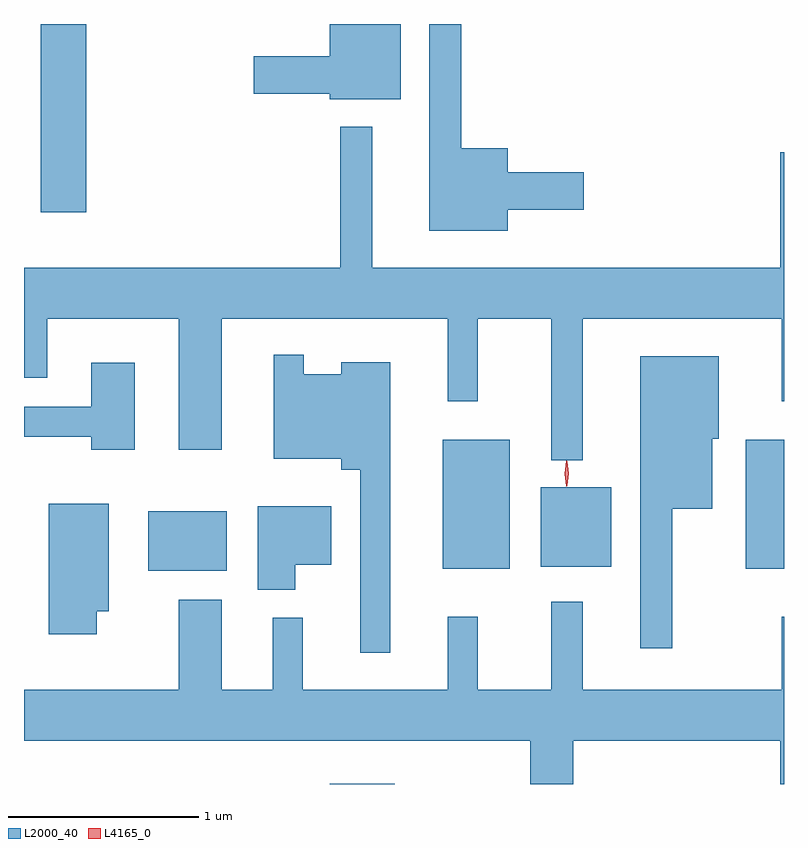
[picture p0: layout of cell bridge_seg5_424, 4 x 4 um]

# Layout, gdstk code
import gdstk
lib = gdstk.Library(unit=1e-6, precision=1e-09)
def R(c, l, rs):  # rectangles x0, y0, x1, y1
    for r in rs: c.add(gdstk.rectangle(r[:2], r[2:], *l))
def P(c, l, *ps):  # polygons
    for p in ps: c.add(gdstk.Polygon(p, *l))
L2000_40 = (2000, 40)
L4165_0 = (4165, 0)

bridge_seg5_424 = lib.new_cell('bridge_seg5_424')
R(bridge_seg5_424, L2000_40, [(312.606,1498.748,312.949,1498.749), (311.651,1499.871,312.064,1500.184), (313.201,1499.881,313.554,1500.559), (314.796,1499.881,314.997,1500.559), (313.716,1499.891,314.089,1500.309), (311.086,1501.756,311.324,1502.748)])
P(bridge_seg5_424, L2000_40, [(313.544,1501.771),(313.944,1501.771),(313.944,1501.969),(313.544,1501.969),(313.544,1502.094),(313.299,1502.094),(313.299,1502.748),(313.131,1502.748),(313.131,1501.661),(313.544,1501.661)],
  [(312.979,1502.748),(312.606,1502.748),(312.606,1502.579),(312.206,1502.579),(312.206,1502.381),(312.606,1502.381),(312.606,1502.351),(312.979,1502.351)],
  [(313.939,1501.196),(314.986,1501.196),(314.986,1500.763),(314.997,1500.763),(314.997,1502.074),(314.976,1502.074),(314.976,1501.464),(312.829,1501.464),(312.829,1502.208),(312.661,1502.208),(312.661,1501.464),(310.997,1501.464),(310.997,1500.886),(311.119,1500.886),(311.119,1501.196),(311.811,1501.196),(311.811,1500.506),(312.039,1500.506),(312.039,1501.196),(313.226,1501.196),(313.226,1500.763),(313.384,1500.763),(313.384,1501.196),(313.771,1501.196),(313.771,1500.453),(313.939,1500.453)],
  [(312.924,1500.969),(312.666,1500.969),(312.666,1500.904),(312.469,1500.904),(312.469,1501.008),(312.311,1501.008),(312.311,1500.461),(312.666,1500.461),(312.666,1500.401),(312.766,1500.401),(312.766,1499.438),(312.924,1499.438)],
  [(314.409,1500.196),(314.619,1500.196),(314.619,1500.566),(314.654,1500.566),(314.654,1500.999),(314.241,1500.999),(314.241,1499.463),(314.409,1499.463)],
  [(311.579,1500.964),(311.351,1500.964),(311.351,1500.734),(310.997,1500.734),(310.997,1500.576),(311.351,1500.576),(311.351,1500.506),(311.579,1500.506)],
  [(311.379,1499.656),(311.444,1499.656),(311.444,1500.224),(311.126,1500.224),(311.126,1499.536),(311.379,1499.536)],
  [(312.424,1499.901),(312.614,1499.901),(312.614,1500.209),(312.226,1500.209),(312.226,1499.771),(312.424,1499.771)],
  [(313.889,1498.976),(314.976,1498.976),(314.976,1498.748),(314.997,1498.748),(314.997,1499.628),(314.986,1499.628),(314.986,1499.244),(313.939,1499.244),(313.939,1499.708),(313.771,1499.708),(313.771,1499.244),(313.384,1499.244),(313.384,1499.628),(313.226,1499.628),(313.226,1499.244),(312.464,1499.244),(312.464,1499.623),(312.306,1499.623),(312.306,1499.244),(312.039,1499.244),(312.039,1499.719),(311.811,1499.719),(311.811,1499.244),(310.997,1499.244),(310.997,1498.976),(313.661,1498.976),(313.661,1498.748),(313.889,1498.748)])
P(bridge_seg5_424, L4165_0, [(313.852,1500.314),(313.843,1500.382),(313.852,1500.45),(313.853,1500.45),(313.853,1500.45),(313.863,1500.382),(313.853,1500.314),(313.853,1500.314)],
  [(313.855,1500.318),(313.855,1500.319),(313.845,1500.383),(313.855,1500.447),(313.855,1500.447),(313.856,1500.447),(313.865,1500.383),(313.856,1500.319)])

lib.write_gds('bridge_seg5_424.gds')
